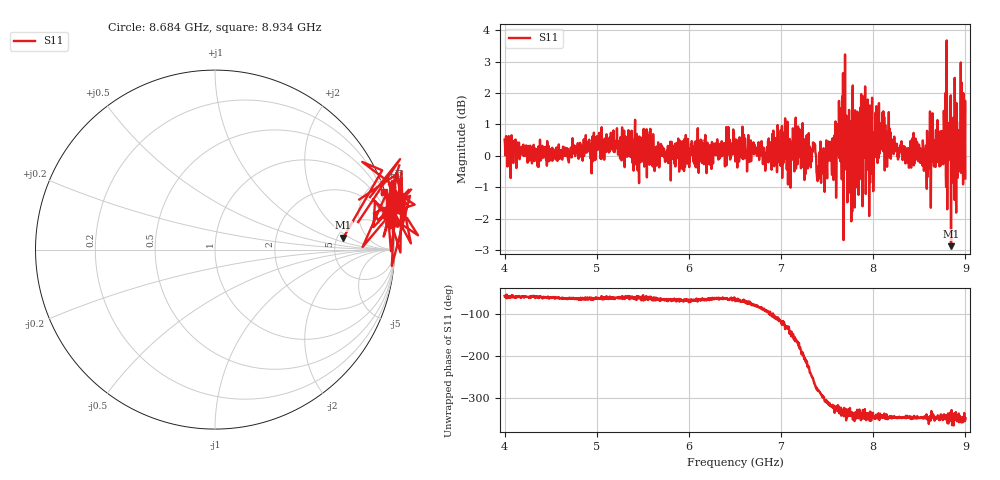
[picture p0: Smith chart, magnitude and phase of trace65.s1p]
! Created with skrf 1.8.0 (http://scikit-rf.org).
# Hz S RI R 50.0
!freq ReS11 ImS11
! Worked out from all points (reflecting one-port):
!   1601 points, 4 GHz to 9 GHz, reference 50 ohm
!   lowest |S11| = -2.9 dB at 8.844 GHz (marker M1), VSWR 6.10, Z = 283 + j77.8 ohm
!   phase of S11 starts at -57 deg and turns -291 deg over the sweep
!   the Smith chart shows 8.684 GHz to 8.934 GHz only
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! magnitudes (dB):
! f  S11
! 4 GHz  0.5
! 4.625 GHz  -0.1
! 5.25 GHz  0.3
! 5.875 GHz  0.1
! 6.5 GHz  0.3
! 6.816 GHz  0.0
! 7.125 GHz  0.6
! 7.209 GHz  0.6
! 7.262 GHz  0.1
! 7.353 GHz  0.4
! 7.409 GHz  -0.6
! 7.575 GHz  0.0
! 7.688 GHz  2.1
! 7.703 GHz  -0.2
! 7.75 GHz  0.3
! 7.784 GHz  -1.0
! 7.928 GHz  0.0
! 7.981 GHz  -0.6
! 8.097 GHz  0.7
! 8.375 GHz  0.0
! 8.603 GHz  -0.3
! 8.656 GHz  0.5
! 8.738 GHz  0.5
! 8.816 GHz  0.3
! 8.844 GHz  -2.9
! 8.919 GHz  -0.2
! 8.972 GHz  0.5
! 9 GHz  -0.7
